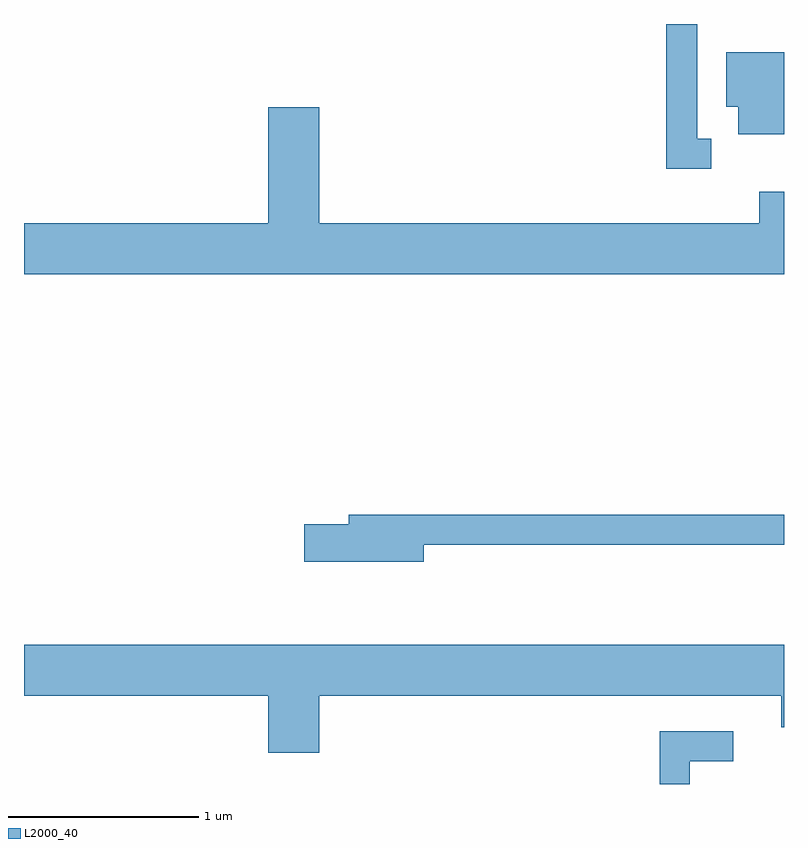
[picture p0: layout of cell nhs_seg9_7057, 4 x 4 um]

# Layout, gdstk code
import gdstk
lib = gdstk.Library(unit=1e-6, precision=1e-09)
def P(c, l, *ps):  # polygons
    for p in ps: c.add(gdstk.Polygon(p, *l))
L2000_40 = (2000, 40)

nhs_seg9_7057 = lib.new_cell('nhs_seg9_7057')
P(nhs_seg9_7057, L2000_40, [(397.228,2025.829),(397.154,2025.829),(397.154,2026.432),(396.991,2026.432),(396.991,2025.671),(397.228,2025.671)],
  [(397.611,2026.284),(397.306,2026.284),(397.306,2025.996),(397.371,2025.996),(397.371,2025.851),(397.611,2025.851)],
  [(397.611,2025.549),(397.481,2025.549),(397.481,2025.384),(395.164,2025.384),(395.164,2025.994),(394.896,2025.994),(394.896,2025.384),(393.611,2025.384),(393.611,2025.116),(397.611,2025.116)],
  [(395.714,2023.691),(397.611,2023.691),(397.611,2023.849),(395.321,2023.849),(395.321,2023.799),(395.086,2023.799),(395.086,2023.601),(395.714,2023.601)],
  [(395.164,2022.896),(397.596,2022.896),(397.596,2022.731),(397.611,2022.731),(397.611,2023.164),(393.611,2023.164),(393.611,2022.896),(394.896,2022.896),(394.896,2022.596),(395.164,2022.596)],
  [(397.114,2022.551),(397.343,2022.551),(397.343,2022.709),(396.956,2022.709),(396.956,2022.432),(397.114,2022.432)])

lib.write_gds('nhs_seg9_7057.gds')
